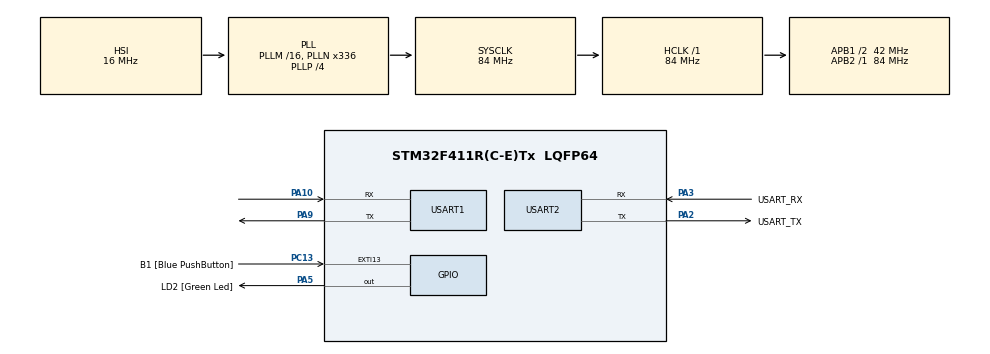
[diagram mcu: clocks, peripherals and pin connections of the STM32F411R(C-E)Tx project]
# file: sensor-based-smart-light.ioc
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Mcu.Family=STM32F4
Mcu.Name=STM32F411R(C-E)Tx
Mcu.Package=LQFP64
NVIC.PriorityGroup=NVIC_PRIORITYGROUP_0
NVIC.USART1_IRQn=true\:0\:0\:false\:false\:true\:true\:true\:true
PA10.Mode=Asynchronous
PA10.Signal=USART1_RX
PA13.GPIO_Label=TMS
PA13.Mode=Serial_Wire
PA13.Signal=SYS_JTMS-SWDIO
PA14.GPIO_Label=TCK
PA14.Mode=Serial_Wire
PA14.Signal=SYS_JTCK-SWCLK
PA2.GPIO_Label=USART_TX
PA2.Mode=Asynchronous
PA2.Signal=USART2_TX
PA3.GPIO_Label=USART_RX
PA3.Mode=Asynchronous
PA3.Signal=USART2_RX
PA5.GPIO_Label=LD2 [Green Led]
PA5.Signal=GPIO_Output
PA9.Mode=Asynchronous
PA9.Signal=USART1_TX
PB3.GPIO_Label=SWO
PB3.Signal=SYS_JTDO-SWO
PC13-ANTI_TAMP.GPIO_Label=B1 [Blue PushButton]
PC13-ANTI_TAMP.GPIO_ModeDefaultEXTI=GPIO_MODE_IT_FALLING
PC13-ANTI_TAMP.Signal=GPXTI13
PC14-OSC32_IN.Mode=LSE-External-Oscillator
PC14-OSC32_IN.Signal=RCC_OSC32_IN
PC15-OSC32_OUT.Mode=LSE-External-Oscillator
PC15-OSC32_OUT.Signal=RCC_OSC32_OUT
PH0\ -\ OSC_IN.Mode=HSE-External-Clock-Source
PH0\ -\ OSC_IN.Signal=RCC_OSC_IN
PH1\ -\ OSC_OUT.Mode=HSE-External-Clock-Source
PH1\ -\ OSC_OUT.Signal=RCC_OSC_OUT
ProjectManager.HeapSize=0x200
ProjectManager.StackSize=0x400
ProjectManager.TargetToolchain=STM32CubeIDE
RCC.48MHZClocksFreq_Value=84000000
RCC.AHBFreq_Value=84000000
RCC.APB1CLKDivider=RCC_HCLK_DIV2
RCC.APB1Freq_Value=42000000
RCC.APB1TimFreq_Value=84000000
RCC.APB2Freq_Value=84000000
RCC.APB2TimFreq_Value=84000000
RCC.CortexFreq_Value=84000000
RCC.FLatency-AdvancedSettings=FLASH_LATENCY_2
RCC.HCLKFreq_Value=84000000
RCC.HSE_VALUE=8000000
RCC.HSI_VALUE=16000000
RCC.PLLN=336
RCC.PLLP=RCC_PLLP_DIV4
RCC.SYSCLKFreq_VALUE=84000000
RCC.SYSCLKSource=RCC_SYSCLKSOURCE_PLLCLK
RCC.VCOOutputFreq_Value=336000000
USART1.VirtualMode=VM_ASYNC
USART2.VirtualMode=VM_ASYNC
board=NUCLEO-F411RE

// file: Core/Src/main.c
/* USER CODE BEGIN Header */
/**
  ******************************************************************************
  * @file           : main.c
  * @brief          : Main program body
  ******************************************************************************
  * @attention
  *
  * Copyright (c) 2026 STMicroelectronics.
  * All rights reserved.
  *
  * This software is licensed under terms that can be found in the LICENSE file
  * in the root directory of this software component.
  * If no LICENSE file comes with this software, it is provided AS-IS.
  *
  ******************************************************************************
  */
/* USER CODE END Header */
#include "main.h"

/* USER CODE BEGIN Includes */
#include <string.h>
#include <stdio.h>
/* USER CODE END Includes */

UART_HandleTypeDef huart1;
UART_HandleTypeDef huart2;

/* USER CODE BEGIN PV */
#define UART_RX_BUF_SIZE 128

uint8_t esp_rx_byte = 0;
char esp_rx_buf[UART_RX_BUF_SIZE];
volatile uint16_t esp_rx_idx = 0;
volatile uint8_t esp_line_ready = 0;

uint32_t last_ping_tick = 0;
uint32_t last_led_tick = 0;
uint32_t ping_seq = 0;
/* USER CODE END PV */

void SystemClock_Config(void);
static void MX_GPIO_Init(void);
static void MX_USART2_UART_Init(void);
static void MX_USART1_UART_Init(void);

/* USER CODE BEGIN 0 */
static void Debug_Print(const char *msg)
{
  HAL_UART_Transmit(&huart2, (uint8_t *)msg, strlen(msg), 50);
}

static void ESP_SendLine(const char *msg)
{
  HAL_UART_Transmit(&huart1, (uint8_t *)msg, strlen(msg), 50);
}
/* USER CODE END 0 */

int main(void)
{

  /* MCU Configuration--------------------------------------------------------*/

  /* Reset of all peripherals, Initializes the Flash interface and the Systick. */
  HAL_Init();

  /* Configure the system clock */
  SystemClock_Config();

  /* Initialize all configured peripherals */
  MX_GPIO_Init();
  MX_USART2_UART_Init();
  MX_USART1_UART_Init();
  /* USER CODE BEGIN 2 */
  Debug_Print("STM32F411 UART Smoke Test Start\r\n");
  HAL_UART_Receive_IT(&huart1, &esp_rx_byte, 1);
  /* USER CODE END 2 */

  /* Infinite loop */
  /* USER CODE BEGIN WHILE */
  while (1)
  {
	  uint32_t now = HAL_GetTick();

	  // 1. Toggle LD2 every 200 ms to verify the FSM is non-blocking
	  if (now - last_led_tick >= 200)
	  {
		last_led_tick = now;
		HAL_GPIO_TogglePin(LD2_GPIO_Port, LD2_Pin);
	  }

	  // 2. Send PING and dummy telemetry to ESP32 every 1,000 ms
	  if (now - last_ping_tick >= 1000)
	  {
		last_ping_tick = now;
		ping_seq++;

		char tx_msg[64];
		snprintf(tx_msg, sizeof(tx_msg), "PING:%lu\n", ping_seq);
		ESP_SendLine(tx_msg);

		// Send dummy telemetry on even sequences
		if (ping_seq % 2 == 0)
		{
		  ESP_SendLine("STATE:LIGHT_ON,LDR:1200\n");
		}
	  }

	  // 3. Process a complete received line from ESP32
	  if (esp_line_ready)
	  {
		char line_copy[UART_RX_BUF_SIZE];
		__disable_irq();
		strncpy(line_copy, esp_rx_buf, UART_RX_BUF_SIZE);
		line_copy[UART_RX_BUF_SIZE - 1] = '\0';
		esp_line_ready = 0;
		__enable_irq();

		char dbg[160];
		snprintf(dbg, sizeof(dbg), "[From ESP32] %s\r\n", line_copy);
		Debug_Print(dbg);

		if (strcmp(line_copy, "CMD:OVERRIDE_ON") == 0)
		{
		  ESP_SendLine("ACK:OVERRIDE_ON\n");
		}
		else if (strcmp(line_copy, "CMD:OVERRIDE_OFF") == 0)
		{
		  ESP_SendLine("ACK:OVERRIDE_OFF\n");
		}
	  }
    /* USER CODE END WHILE */

  }
}

void SystemClock_Config(void)
{
  RCC_OscInitTypeDef RCC_OscInitStruct = {0};
  RCC_ClkInitTypeDef RCC_ClkInitStruct = {0};

  /** Configure the main internal regulator output voltage
  */
  __HAL_RCC_PWR_CLK_ENABLE();
  __HAL_PWR_VOLTAGESCALING_CONFIG(PWR_REGULATOR_VOLTAGE_SCALE1);

  /** Initializes the RCC Oscillators according to the specified parameters
  * in the RCC_OscInitTypeDef structure.
  */
  RCC_OscInitStruct.OscillatorType = RCC_OSCILLATORTYPE_HSI;
  RCC_OscInitStruct.HSIState = RCC_HSI_ON;
  RCC_OscInitStruct.HSICalibrationValue = RCC_HSICALIBRATION_DEFAULT;
  RCC_OscInitStruct.PLL.PLLState = RCC_PLL_ON;
  RCC_OscInitStruct.PLL.PLLSource = RCC_PLLSOURCE_HSI;
  RCC_OscInitStruct.PLL.PLLM = 16;
  RCC_OscInitStruct.PLL.PLLN = 336;
  RCC_OscInitStruct.PLL.PLLP = RCC_PLLP_DIV4;
  RCC_OscInitStruct.PLL.PLLQ = 4;
  if (HAL_RCC_OscConfig(&RCC_OscInitStruct) != HAL_OK)
  {
    Error_Handler();
  }

  /** Initializes the CPU, AHB and APB buses clocks
  */
  RCC_ClkInitStruct.ClockType = RCC_CLOCKTYPE_HCLK|RCC_CLOCKTYPE_SYSCLK
                              |RCC_CLOCKTYPE_PCLK1|RCC_CLOCKTYPE_PCLK2;
  RCC_ClkInitStruct.SYSCLKSource = RCC_SYSCLKSOURCE_PLLCLK;
  RCC_ClkInitStruct.AHBCLKDivider = RCC_SYSCLK_DIV1;
  RCC_ClkInitStruct.APB1CLKDivider = RCC_HCLK_DIV2;
  RCC_ClkInitStruct.APB2CLKDivider = RCC_HCLK_DIV1;

  if (HAL_RCC_ClockConfig(&RCC_ClkInitStruct, FLASH_LATENCY_2) != HAL_OK)
  {
    Error_Handler();
  }
}

static void MX_USART1_UART_Init(void)
{

  huart1.Instance = USART1;
  huart1.Init.BaudRate = 115200;
  huart1.Init.WordLength = UART_WORDLENGTH_8B;
  huart1.Init.StopBits = UART_STOPBITS_1;
  huart1.Init.Parity = UART_PARITY_NONE;
  huart1.Init.Mode = UART_MODE_TX_RX;
  huart1.Init.HwFlowCtl = UART_HWCONTROL_NONE;
  huart1.Init.OverSampling = UART_OVERSAMPLING_16;
  if (HAL_UART_Init(&huart1) != HAL_OK)
  {
    Error_Handler();
  }

}

static void MX_USART2_UART_Init(void)
{

  huart2.Instance = USART2;
  huart2.Init.BaudRate = 115200;
  huart2.Init.WordLength = UART_WORDLENGTH_8B;
  huart2.Init.StopBits = UART_STOPBITS_1;
  huart2.Init.Parity = UART_PARITY_NONE;
  huart2.Init.Mode = UART_MODE_TX_RX;
  huart2.Init.HwFlowCtl = UART_HWCONTROL_NONE;
  huart2.Init.OverSampling = UART_OVERSAMPLING_16;
  if (HAL_UART_Init(&huart2) != HAL_OK)
  {
    Error_Handler();
  }

}

static void MX_GPIO_Init(void)
{
  GPIO_InitTypeDef GPIO_InitStruct = {0};

  /* GPIO Ports Clock Enable */
  __HAL_RCC_GPIOC_CLK_ENABLE();
  __HAL_RCC_GPIOH_CLK_ENABLE();
  __HAL_RCC_GPIOA_CLK_ENABLE();
  __HAL_RCC_GPIOB_CLK_ENABLE();

  /*Configure GPIO pin Output Level */
  HAL_GPIO_WritePin(LD2_GPIO_Port, LD2_Pin, GPIO_PIN_RESET);

  /*Configure GPIO pin : B1_Pin */
  GPIO_InitStruct.Pin = B1_Pin;
  GPIO_InitStruct.Mode = GPIO_MODE_IT_FALLING;
  GPIO_InitStruct.Pull = GPIO_NOPULL;
  HAL_GPIO_Init(B1_GPIO_Port, &GPIO_InitStruct);

  /*Configure GPIO pin : LD2_Pin */
  GPIO_InitStruct.Pin = LD2_Pin;
  GPIO_InitStruct.Mode = GPIO_MODE_OUTPUT_PP;
  GPIO_InitStruct.Pull = GPIO_NOPULL;
  GPIO_InitStruct.Speed = GPIO_SPEED_FREQ_LOW;
  HAL_GPIO_Init(LD2_GPIO_Port, &GPIO_InitStruct);

}

/* USER CODE BEGIN 4 */
void HAL_UART_RxCpltCallback(UART_HandleTypeDef *huart)
{
  if (huart->Instance == USART1)
  {
    if (!esp_line_ready) // Wait until the previous line is consumed
    {
      if (esp_rx_byte == '\n' || esp_rx_byte == '\r')
      {
        if (esp_rx_idx > 0)
        {
          esp_rx_buf[esp_rx_idx] = '\0';
          esp_rx_idx = 0;
          esp_line_ready = 1;
        }
      }
      else if (esp_rx_idx < UART_RX_BUF_SIZE - 1)
      {
        esp_rx_buf[esp_rx_idx++] = (char)esp_rx_byte;
      }
      else
      {
        // Reset index to prevent buffer overflow if no newline is received
        esp_rx_idx = 0;
      }
    }
    HAL_UART_Receive_IT(&huart1, &esp_rx_byte, 1);
  }
}

void HAL_UART_ErrorCallback(UART_HandleTypeDef *huart)
{
  if (huart->Instance == USART1)
  {
    // Reset buffer and re-arm reception to recover from line noise or overrun errors
    esp_rx_idx = 0;
    HAL_UART_Receive_IT(&huart1, &esp_rx_byte, 1);
  }
}
/* USER CODE END 4 */

void Error_Handler(void)
{
  __disable_irq();
  while (1)
  {
  }
}
